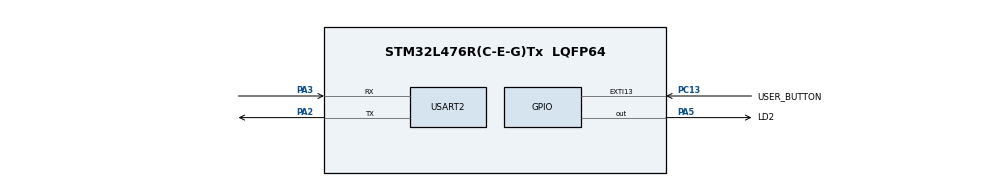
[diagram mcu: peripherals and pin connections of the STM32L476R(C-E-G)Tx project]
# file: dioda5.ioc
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IWDG.Prescaler=IWDG_PRESCALER_32
Mcu.Family=STM32L4
Mcu.Name=STM32L476R(C-E-G)Tx
Mcu.Package=LQFP64
NVIC.EXTI15_10_IRQn=true\:10\:0\:true\:false\:true\:true\:true\:true
NVIC.PriorityGroup=NVIC_PRIORITYGROUP_4
PA13\ (JTMS-SWDIO).Mode=Serial_Wire
PA13\ (JTMS-SWDIO).Signal=SYS_JTMS-SWDIO
PA14\ (JTCK-SWCLK).Mode=Serial_Wire
PA14\ (JTCK-SWCLK).Signal=SYS_JTCK-SWCLK
PA2.Mode=Asynchronous
PA2.Signal=USART2_TX
PA3.Mode=Asynchronous
PA3.Signal=USART2_RX
PA5.GPIO_Label=LD2
PA5.Signal=GPIO_Output
PC13.GPIO_Label=USER_BUTTON
PC13.Signal=GPXTI13
ProjectManager.HeapSize=0x200
ProjectManager.StackSize=0x400
ProjectManager.TargetToolchain=STM32CubeIDE
RCC.HSE_VALUE=8000000
RCC.HSI_VALUE=16000000
RCC.LSE_VALUE=32.77
RCC.MSI_VALUE=4000000
RCC.VCOOutputFreq_Value=32000000
USART2.VirtualMode-Asynchronous=VM_ASYNC
VP_IWDG_VS_IWDG.Mode=IWDG_Activate
VP_RTC_VS_RTC_Activate.Mode=RTC_Enabled
board=custom

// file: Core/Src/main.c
/* USER CODE BEGIN Header */
/**
  ******************************************************************************
  * @file           : main.c
  * @brief          : Main program body
  ******************************************************************************
  * @attention
  *
  * Copyright (c) 2024 STMicroelectronics.
  * All rights reserved.
  *
  * This software is licensed under terms that can be found in the LICENSE file
  * in the root directory of this software component.
  * If no LICENSE file comes with this software, it is provided AS-IS.
  *
  ******************************************************************************
  */
/* USER CODE END Header */
#include "main.h"

/* USER CODE BEGIN Includes */

#include <stdbool.h>
#include <string.h>
#include <stdio.h>

/* USER CODE END Includes */

IWDG_HandleTypeDef hiwdg;

RTC_HandleTypeDef hrtc;

UART_HandleTypeDef huart2;

void SystemClock_Config(void);
static void MX_GPIO_Init(void);
static void MX_USART2_UART_Init(void);
static void MX_RTC_Init(void);
static void MX_IWDG_Init(void);

/* USER CODE BEGIN 0 */

int received_number = 0;
bool lD2_state = true;

int __io_putchar(int ch)
{
 if (ch == '\n') {
 uint8_t ch2 = '\r';
 HAL_UART_Transmit(&huart2, &ch2, 1, HAL_MAX_DELAY);
 }
 HAL_UART_Transmit(&huart2, (uint8_t*)&ch, 1, HAL_MAX_DELAY);
 return 1;
}

bool is_button_pressed(void) {
 if (HAL_GPIO_ReadPin(USER_BUTTON_GPIO_Port, USER_BUTTON_Pin) == GPIO_PIN_RESET) {
 return true;
 } else {
 return false;
 }
}

volatile uint32_t push_counter;

void HAL_GPIO_EXTI_Callback(uint16_t GPIO_Pin)
{
  if (GPIO_Pin == USER_BUTTON_Pin) {
    push_counter++;
    lD2_state = !lD2_state;
  }
}

/* USER CODE END 0 */

int main(void)
{

  /* MCU Configuration--------------------------------------------------------*/

  /* Reset of all peripherals, Initializes the Flash interface and the Systick. */
  HAL_Init();

  /* Configure the system clock */
  SystemClock_Config();

  /* Initialize all configured peripherals */
  MX_GPIO_Init();
  MX_USART2_UART_Init();
  MX_RTC_Init();
  MX_IWDG_Init();
  /* USER CODE BEGIN 2 */
  int i;
  for (i = 0; i < 10; i++){
	  HAL_GPIO_TogglePin(LD2_GPIO_Port, LD2_Pin);
	  HAL_Delay(100);
  }
  uint32_t last_ms = HAL_GetTick();

//  uint8_t value = 5;
//  line_append(value);
//  line_buffer = 5;
//  line_append(value);

  /* USER CODE END 2 */

  /* Infinite loop */
  /* USER CODE BEGIN WHILE */

  uint32_t old_push_counter = push_counter; //9
  while (1)
  {
	  // przerwanie
	  if (old_push_counter != push_counter) {
	        old_push_counter = push_counter;
	        printf("counter = %lu\n", old_push_counter);

	      }
	  HAL_GPIO_WritePin(LD2_GPIO_Port, LD2_Pin, lD2_state);

	  //Watchdog
	  HAL_IWDG_Refresh(&hiwdg);
	  uint32_t now = HAL_GetTick();
	  if(now - last_ms >= 500){
		  HAL_GPIO_TogglePin(LD2_GPIO_Port, LD2_Pin);
		  last_ms = HAL_GetTick();
	  }

    /* USER CODE END WHILE */

  }
}

void SystemClock_Config(void)
{
  RCC_OscInitTypeDef RCC_OscInitStruct = {0};
  RCC_ClkInitTypeDef RCC_ClkInitStruct = {0};

  /** Configure the main internal regulator output voltage
  */
  if (HAL_PWREx_ControlVoltageScaling(PWR_REGULATOR_VOLTAGE_SCALE1) != HAL_OK)
  {
    Error_Handler();
  }

  /** Initializes the RCC Oscillators according to the specified parameters
  * in the RCC_OscInitTypeDef structure.
  */
  RCC_OscInitStruct.OscillatorType = RCC_OSCILLATORTYPE_LSI|RCC_OSCILLATORTYPE_MSI;
  RCC_OscInitStruct.LSIState = RCC_LSI_ON;
  RCC_OscInitStruct.MSIState = RCC_MSI_ON;
  RCC_OscInitStruct.MSICalibrationValue = 0;
  RCC_OscInitStruct.MSIClockRange = RCC_MSIRANGE_6;
  RCC_OscInitStruct.PLL.PLLState = RCC_PLL_NONE;
  if (HAL_RCC_OscConfig(&RCC_OscInitStruct) != HAL_OK)
  {
    Error_Handler();
  }

  /** Initializes the CPU, AHB and APB buses clocks
  */
  RCC_ClkInitStruct.ClockType = RCC_CLOCKTYPE_HCLK|RCC_CLOCKTYPE_SYSCLK
                              |RCC_CLOCKTYPE_PCLK1|RCC_CLOCKTYPE_PCLK2;
  RCC_ClkInitStruct.SYSCLKSource = RCC_SYSCLKSOURCE_MSI;
  RCC_ClkInitStruct.AHBCLKDivider = RCC_SYSCLK_DIV1;
  RCC_ClkInitStruct.APB1CLKDivider = RCC_HCLK_DIV1;
  RCC_ClkInitStruct.APB2CLKDivider = RCC_HCLK_DIV1;

  if (HAL_RCC_ClockConfig(&RCC_ClkInitStruct, FLASH_LATENCY_0) != HAL_OK)
  {
    Error_Handler();
  }
}

static void MX_IWDG_Init(void)
{

  hiwdg.Instance = IWDG;
  hiwdg.Init.Prescaler = IWDG_PRESCALER_32;
  hiwdg.Init.Window = 4095;
  hiwdg.Init.Reload = 4095;
  if (HAL_IWDG_Init(&hiwdg) != HAL_OK)
  {
    Error_Handler();
  }

}

static void MX_RTC_Init(void)
{

  /** Initialize RTC Only
  */
  hrtc.Instance = RTC;
  hrtc.Init.HourFormat = RTC_HOURFORMAT_24;
  hrtc.Init.AsynchPrediv = 127;
  hrtc.Init.SynchPrediv = 255;
  hrtc.Init.OutPut = RTC_OUTPUT_DISABLE;
  hrtc.Init.OutPutRemap = RTC_OUTPUT_REMAP_NONE;
  hrtc.Init.OutPutPolarity = RTC_OUTPUT_POLARITY_HIGH;
  hrtc.Init.OutPutType = RTC_OUTPUT_TYPE_OPENDRAIN;
  if (HAL_RTC_Init(&hrtc) != HAL_OK)
  {
    Error_Handler();
  }

}

static void MX_USART2_UART_Init(void)
{

  huart2.Instance = USART2;
  huart2.Init.BaudRate = 115200;
  huart2.Init.WordLength = UART_WORDLENGTH_8B;
  huart2.Init.StopBits = UART_STOPBITS_1;
  huart2.Init.Parity = UART_PARITY_NONE;
  huart2.Init.Mode = UART_MODE_TX_RX;
  huart2.Init.HwFlowCtl = UART_HWCONTROL_NONE;
  huart2.Init.OverSampling = UART_OVERSAMPLING_16;
  huart2.Init.OneBitSampling = UART_ONE_BIT_SAMPLE_DISABLE;
  huart2.AdvancedInit.AdvFeatureInit = UART_ADVFEATURE_NO_INIT;
  if (HAL_UART_Init(&huart2) != HAL_OK)
  {
    Error_Handler();
  }

}

static void MX_GPIO_Init(void)
{
  GPIO_InitTypeDef GPIO_InitStruct = {0};

  /* GPIO Ports Clock Enable */
  __HAL_RCC_GPIOC_CLK_ENABLE();
  __HAL_RCC_GPIOA_CLK_ENABLE();

  /*Configure GPIO pin Output Level */
  HAL_GPIO_WritePin(LD2_GPIO_Port, LD2_Pin, GPIO_PIN_RESET);

  /*Configure GPIO pin : USER_BUTTON_Pin */
  GPIO_InitStruct.Pin = USER_BUTTON_Pin;
  GPIO_InitStruct.Mode = GPIO_MODE_IT_RISING;
  GPIO_InitStruct.Pull = GPIO_NOPULL;
  HAL_GPIO_Init(USER_BUTTON_GPIO_Port, &GPIO_InitStruct);

  /*Configure GPIO pin : LD2_Pin */
  GPIO_InitStruct.Pin = LD2_Pin;
  GPIO_InitStruct.Mode = GPIO_MODE_OUTPUT_PP;
  GPIO_InitStruct.Pull = GPIO_NOPULL;
  GPIO_InitStruct.Speed = GPIO_SPEED_FREQ_LOW;
  HAL_GPIO_Init(LD2_GPIO_Port, &GPIO_InitStruct);

  /* EXTI interrupt init*/
  HAL_NVIC_SetPriority(EXTI15_10_IRQn, 10, 0);
  HAL_NVIC_EnableIRQ(EXTI15_10_IRQn);

}

void Error_Handler(void)
{
  __disable_irq();
  while (1)
  {
  }
}
